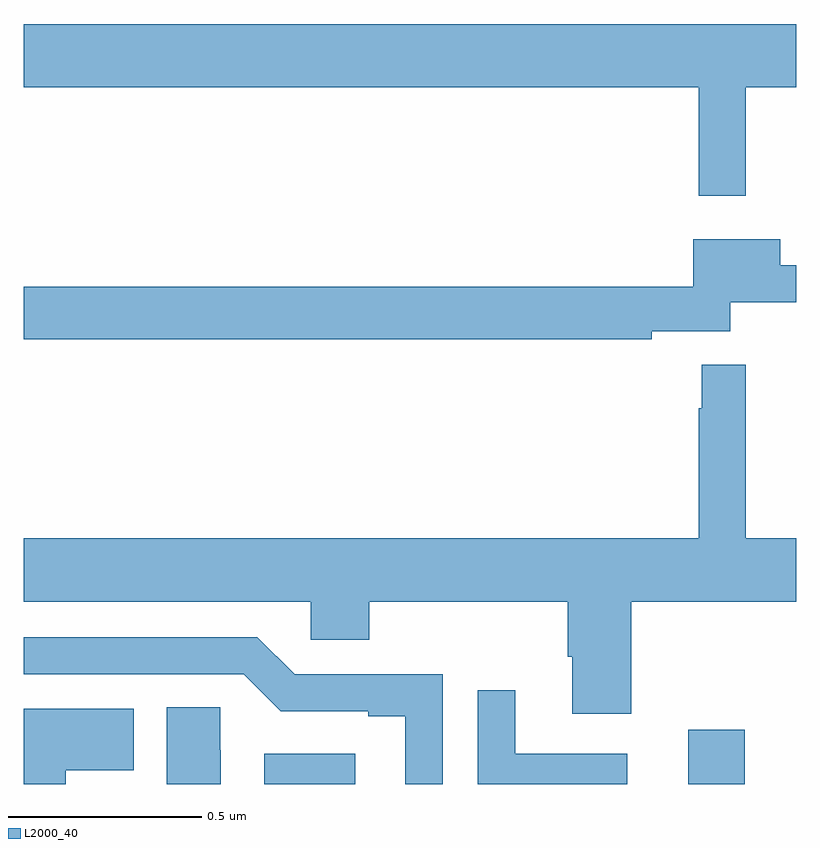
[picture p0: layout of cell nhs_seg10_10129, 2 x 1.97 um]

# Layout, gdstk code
import gdstk
lib = gdstk.Library(unit=1e-6, precision=1e-09)
def R(c, l, rs):  # rectangles x0, y0, x1, y1
    for r in rs: c.add(gdstk.rectangle(r[:2], r[2:], *l))
def P(c, l, *ps):  # polygons
    for p in ps: c.add(gdstk.Polygon(p, *l))
L2000_40 = (2000, 40)

nhs_seg10_10129 = lib.new_cell('nhs_seg10_10129')
R(nhs_seg10_10129, L2000_40, [(238.622,1310.5,238.858,1310.578), (239.72,1310.5,239.867,1310.641)])
P(nhs_seg10_10129, L2000_40, [(238,1312.304),(239.748,1312.304),(239.748,1312.023),(239.869,1312.023),(239.869,1312.304),(240,1312.304),(240,1312.468),(238,1312.468)],
  [(239.626,1311.672),(239.829,1311.672),(239.829,1311.747),(240,1311.747),(240,1311.843),(239.959,1311.843),(239.959,1311.91),(239.733,1311.91),(239.733,1311.788),(238,1311.788),(238,1311.652),(239.626,1311.652)],
  [(239.573,1310.972),(240,1310.972),(240,1311.136),(239.869,1311.136),(239.869,1311.586),(239.756,1311.586),(239.756,1311.473),(239.748,1311.473),(239.748,1311.136),(238,1311.136),(238,1310.972),(238.743,1310.972),(238.743,1310.874),(238.895,1310.874),(238.895,1310.972),(239.408,1310.972),(239.408,1310.83),(239.42,1310.83),(239.42,1310.682),(239.573,1310.682)],
  [(239.085,1310.784),(238.701,1310.784),(238.605,1310.88),(238,1310.88),(238,1310.784),(238.569,1310.784),(238.665,1310.688),(238.892,1310.688),(238.892,1310.676),(238.988,1310.676),(238.988,1310.5),(239.085,1310.5)],
  [(239.563,1310.578),(239.272,1310.578),(239.272,1310.743),(239.175,1310.743),(239.175,1310.5),(239.563,1310.5)],
  [(238.51,1310.588),(238.509,1310.588),(238.509,1310.699),(238.37,1310.699),(238.37,1310.5),(238.51,1310.5)],
  [(238.108,1310.536),(238.285,1310.536),(238.285,1310.695),(238,1310.695),(238,1310.5),(238.108,1310.5)])

lib.write_gds('nhs_seg10_10129.gds')
